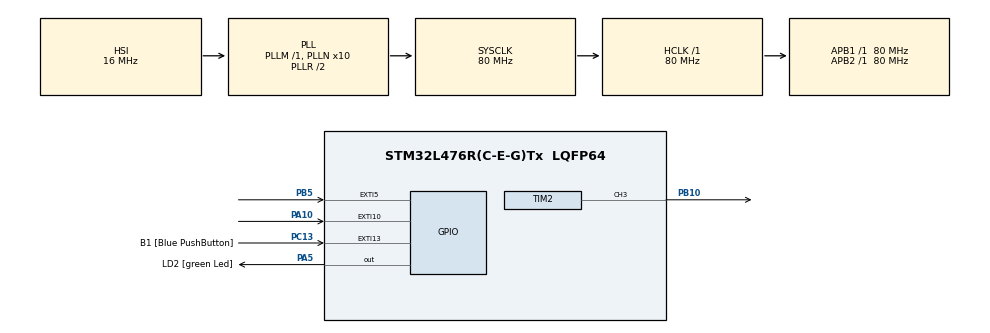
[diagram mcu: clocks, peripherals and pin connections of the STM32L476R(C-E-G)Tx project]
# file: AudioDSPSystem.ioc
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Mcu.Family=STM32L4
Mcu.Name=STM32L476R(C-E-G)Tx
Mcu.Package=LQFP64
NVIC.EXTI15_10_IRQn=true\:0\:0\:false\:false\:true\:true\:true\:true
NVIC.EXTI9_5_IRQn=true\:0\:0\:false\:false\:true\:true\:true\:true
NVIC.PriorityGroup=NVIC_PRIORITYGROUP_4
PA10.Signal=GPXTI10
PA13\ (JTMS-SWDIO).GPIO_Label=TMS
PA13\ (JTMS-SWDIO).Signal=SYS_JTMS-SWDIO
PA14\ (JTCK-SWCLK).GPIO_Label=TCK
PA14\ (JTCK-SWCLK).Signal=SYS_JTCK-SWCLK
PA2.GPIO_Label=USART_TX
PA2.GPIO_Mode=GPIO_MODE_AF_PP
PA2.GPIO_PuPd=GPIO_NOPULL
PA2.GPIO_Speed=GPIO_SPEED_FREQ_VERY_HIGH
PA2.Signal=USART2_TX
PA3.GPIO_Label=USART_RX
PA3.GPIO_Mode=GPIO_MODE_AF_PP
PA3.GPIO_PuPd=GPIO_NOPULL
PA3.GPIO_Speed=GPIO_SPEED_FREQ_VERY_HIGH
PA3.Signal=USART2_RX
PA5.GPIO_Label=LD2 [green Led]
PA5.GPIO_ModeDefaultOutputPP=GPIO_MODE_OUTPUT_PP
PA5.GPIO_PuPd=GPIO_NOPULL
PA5.GPIO_Speed=GPIO_SPEED_FREQ_LOW
PA5.Signal=GPIO_Output
PB10.Signal=S_TIM2_CH3
PB3\ (JTDO-TRACESWO).GPIO_Label=SWO
PB3\ (JTDO-TRACESWO).Signal=SYS_JTDO-SWO
PB5.Signal=GPXTI5
PC13.GPIO_Label=B1 [Blue PushButton]
PC13.GPIO_ModeDefaultEXTI=GPIO_MODE_IT_FALLING
PC13.GPIO_PuPd=GPIO_NOPULL
PC13.Signal=GPXTI13
PC14-OSC32_IN\ (PC14).Signal=RCC_OSC32_IN
PC15-OSC32_OUT\ (PC15).Signal=RCC_OSC32_OUT
PH0-OSC_IN\ (PH0).Signal=RCC_OSC_IN
PH1-OSC_OUT\ (PH1).Signal=RCC_OSC_OUT
ProjectManager.HeapSize=0x200
ProjectManager.StackSize=0x400
ProjectManager.TargetToolchain=STM32CubeIDE
RCC.ADCFreq_Value=64000000
RCC.AHBFreq_Value=80000000
RCC.APB1Freq_Value=80000000
RCC.APB1TimFreq_Value=80000000
RCC.APB2Freq_Value=80000000
RCC.APB2TimFreq_Value=80000000
RCC.CortexFreq_Value=80000000
RCC.HCLKFreq_Value=80000000
RCC.HSE_VALUE=8000000
RCC.HSI_VALUE=16000000
RCC.LSE_VALUE=32768
RCC.MSI_VALUE=4000000
RCC.PLLN=10
RCC.PLLSourceVirtual=RCC_PLLSOURCE_HSI
RCC.PREFETCH_ENABLE=1
RCC.SYSCLKFreq_VALUE=80000000
RCC.SYSCLKSource=RCC_SYSCLKSOURCE_PLLCLK
RCC.USBFreq_Value=64000000
RCC.VCOOutputFreq_Value=160000000
SH.S_TIM2_CH3.0=TIM2_CH3,PWM Generation3 CH3
TIM2.Channel-PWM\ Generation3\ CH3=TIM_CHANNEL_3
TIM2.Prescaler=4
board=NUCLEO-L476RG

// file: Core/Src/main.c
/* USER CODE BEGIN Header */
/**
  ******************************************************************************
  * @file           : main.c
  * @brief          : Main program body
  ******************************************************************************
  * @attention
  *
  * Copyright (c) 2025 STMicroelectronics.
  * All rights reserved.
  *
  * This software is licensed under terms that can be found in the LICENSE file
  * in the root directory of this software component.
  * If no LICENSE file comes with this software, it is provided AS-IS.
  *
  ******************************************************************************
  */
/* USER CODE END Header */
#include "main.h"
#include <math.h>

TIM_HandleTypeDef htim2;

/* USER CODE BEGIN PV */

static volatile int upCount = 0;
static volatile int downCount = 0;

/* USER CODE END PV */

void SystemClock_Config(void);
static void MX_GPIO_Init(void);
static void MX_TIM2_Init(void);

/* USER CODE BEGIN 0 */

	void HAL_GPIO_EXTI_Callback(uint16_t GPIO_Pin){

		//button debouncing :p
		static uint32_t lastTick = 0;
		uint32_t currentTick = HAL_GetTick();
		//ignore if less than 50ms
		if(currentTick - lastTick < 50){
			return;
		}
		lastTick = HAL_GetTick();

		//D4
		if (GPIO_Pin == GPIO_PIN_5){
			upCount++;
		}
		//D2
		else if ((GPIO_Pin == GPIO_PIN_10)){
			upCount--;
		}

	}
/* USER CODE END 0 */

int main(void)
{

  /* USER CODE BEGIN 1 */
	static const float frequencies[] = {
			659.26, 493.88, 523.25, 587.33, 523.25, 493.88, 440.00, 220.00, 440.00, 523.25, 659.26, 587.33, 523.25, 493.88, 415.30, 523.25, 587.33, 659.26, 523.25, 440.00, 220.00, 220.00, 587.33, 698.46, 880.00, 783.99, 698.46, 659.26, 523.25, 659.26, 587.33, 523.25, 493.88, 246.94, 261.63, 587.33, 659.26, 523.25, 440.00
	};
	//ms
	static const float durations[] = {
			406.35, 191.56, 185.76, 365.71, 203.17, 191.56, 162.54, 162.54, 168.34, 168.34, 371.52, 203.17, 191.56, 388.93, 145.12, 203.17, 377.32, 388.93, 383.13, 191.56, 609.52, 87.07, 406.35, 185.76, 383.13, 191.56, 191.56, 522.45, 214.78, 377.32, 197.37, 185.76, 214.78, 319.27, 168.34, 342.49, 394.74, 383.13, 853.33
	};
	//calculate # of notes
	int numNotes = sizeof(frequencies) / sizeof(frequencies[0]);

  /* USER CODE END 1 */

  /* MCU Configuration--------------------------------------------------------*/

  /* Reset of all peripherals, Initializes the Flash interface and the Systick. */
  HAL_Init();

  /* Configure the system clock */
  SystemClock_Config();

  /* Initialize all configured peripherals */
  MX_GPIO_Init();
  MX_TIM2_Init();
  /* USER CODE BEGIN 2 */

//  uint32_t * TIM2BASE = (uint32_t *) 0x40000000;

  //volume is the ccr duty cycle. CCR = duty * ARR+1
  //ask user for volume from 0-100
  float duty = 0.0;

  /* USER CODE END 2 */

  /* Infinite loop */
  while (1)
  {

    /* USER CODE BEGIN 3 */
	  for (int i = 0; i < numNotes; i++){

		  //base freq
		  int fifth = upCount - downCount;

		  //calculate for major freq shift
		  float mult = powf(2.0, (1.0/12.0) * fifth);

		  //change note to adjusted frequency
		  float note = frequencies[i] * mult;

		  //Frequency is the ARR period, ARR = tick/freq - 1
		  uint32_t arr = (16000000 / note) - 1;
		  __HAL_TIM_SET_AUTORELOAD(&htim2, arr);

		  //set volume
		  //volume is proportional to sin(pi * DC), max vol at 50% dc
		  float volume = duty/200.0 * (arr + 1);
		  __HAL_TIM_SET_COMPARE(&htim2, TIM_CHANNEL_3, volume);

		  //play
		  __HAL_TIM_SET_COUNTER(&htim2, 0);
		  HAL_TIM_PWM_Start(&htim2, TIM_CHANNEL_3);
		  HAL_Delay(durations[i]);
		  HAL_TIM_PWM_Stop(&htim2, TIM_CHANNEL_3);

	  }

	  ///debug
//	  uint32_t arr = (16000000 / frequencies[0]) - 1;
//	  		  __HAL_TIM_SET_AUTORELOAD(&htim2, arr);          // 1 kHz @ 16 MHz tick
//
//	  __HAL_TIM_SET_COMPARE(&htim2, TIM_CHANNEL_3, 0); // ~50% duty
//	  HAL_TIM_PWM_Start(&htim2, TIM_CHANNEL_3);
  }
  /* USER CODE END 3 */
}

void SystemClock_Config(void)
{
  RCC_OscInitTypeDef RCC_OscInitStruct = {0};
  RCC_ClkInitTypeDef RCC_ClkInitStruct = {0};

  /** Configure the main internal regulator output voltage
  */
  if (HAL_PWREx_ControlVoltageScaling(PWR_REGULATOR_VOLTAGE_SCALE1) != HAL_OK)
  {
    Error_Handler();
  }

  /** Initializes the RCC Oscillators according to the specified parameters
  * in the RCC_OscInitTypeDef structure.
  */
  RCC_OscInitStruct.OscillatorType = RCC_OSCILLATORTYPE_HSI;
  RCC_OscInitStruct.HSIState = RCC_HSI_ON;
  RCC_OscInitStruct.HSICalibrationValue = RCC_HSICALIBRATION_DEFAULT;
  RCC_OscInitStruct.PLL.PLLState = RCC_PLL_ON;
  RCC_OscInitStruct.PLL.PLLSource = RCC_PLLSOURCE_HSI;
  RCC_OscInitStruct.PLL.PLLM = 1;
  RCC_OscInitStruct.PLL.PLLN = 10;
  RCC_OscInitStruct.PLL.PLLP = RCC_PLLP_DIV7;
  RCC_OscInitStruct.PLL.PLLQ = RCC_PLLQ_DIV2;
  RCC_OscInitStruct.PLL.PLLR = RCC_PLLR_DIV2;
  if (HAL_RCC_OscConfig(&RCC_OscInitStruct) != HAL_OK)
  {
    Error_Handler();
  }

  /** Initializes the CPU, AHB and APB buses clocks
  */
  RCC_ClkInitStruct.ClockType = RCC_CLOCKTYPE_HCLK|RCC_CLOCKTYPE_SYSCLK
                              |RCC_CLOCKTYPE_PCLK1|RCC_CLOCKTYPE_PCLK2;
  RCC_ClkInitStruct.SYSCLKSource = RCC_SYSCLKSOURCE_PLLCLK;
  RCC_ClkInitStruct.AHBCLKDivider = RCC_SYSCLK_DIV1;
  RCC_ClkInitStruct.APB1CLKDivider = RCC_HCLK_DIV1;
  RCC_ClkInitStruct.APB2CLKDivider = RCC_HCLK_DIV1;

  if (HAL_RCC_ClockConfig(&RCC_ClkInitStruct, FLASH_LATENCY_4) != HAL_OK)
  {
    Error_Handler();
  }
}

static void MX_TIM2_Init(void)
{

  TIM_MasterConfigTypeDef sMasterConfig = {0};
  TIM_OC_InitTypeDef sConfigOC = {0};

  htim2.Instance = TIM2;
  htim2.Init.Prescaler = 4;
  htim2.Init.CounterMode = TIM_COUNTERMODE_UP;
  htim2.Init.Period = 4294967295;
  htim2.Init.ClockDivision = TIM_CLOCKDIVISION_DIV1;
  htim2.Init.AutoReloadPreload = TIM_AUTORELOAD_PRELOAD_DISABLE;
  if (HAL_TIM_PWM_Init(&htim2) != HAL_OK)
  {
    Error_Handler();
  }
  sMasterConfig.MasterOutputTrigger = TIM_TRGO_RESET;
  sMasterConfig.MasterSlaveMode = TIM_MASTERSLAVEMODE_DISABLE;
  if (HAL_TIMEx_MasterConfigSynchronization(&htim2, &sMasterConfig) != HAL_OK)
  {
    Error_Handler();
  }
  sConfigOC.OCMode = TIM_OCMODE_PWM1;
  sConfigOC.Pulse = 0;
  sConfigOC.OCPolarity = TIM_OCPOLARITY_HIGH;
  sConfigOC.OCFastMode = TIM_OCFAST_DISABLE;
  if (HAL_TIM_PWM_ConfigChannel(&htim2, &sConfigOC, TIM_CHANNEL_3) != HAL_OK)
  {
    Error_Handler();
  }
  HAL_TIM_MspPostInit(&htim2);

}

static void MX_GPIO_Init(void)
{
  GPIO_InitTypeDef GPIO_InitStruct = {0};

  /* GPIO Ports Clock Enable */
  __HAL_RCC_GPIOC_CLK_ENABLE();
  __HAL_RCC_GPIOH_CLK_ENABLE();
  __HAL_RCC_GPIOA_CLK_ENABLE();
  __HAL_RCC_GPIOB_CLK_ENABLE();

  /*Configure GPIO pin Output Level */
  HAL_GPIO_WritePin(LD2_GPIO_Port, LD2_Pin, GPIO_PIN_RESET);

  /*Configure GPIO pin : B1_Pin */
  GPIO_InitStruct.Pin = B1_Pin;
  GPIO_InitStruct.Mode = GPIO_MODE_IT_FALLING;
  GPIO_InitStruct.Pull = GPIO_NOPULL;
  HAL_GPIO_Init(B1_GPIO_Port, &GPIO_InitStruct);

  /*Configure GPIO pins : USART_TX_Pin USART_RX_Pin */
  GPIO_InitStruct.Pin = USART_TX_Pin|USART_RX_Pin;
  GPIO_InitStruct.Mode = GPIO_MODE_AF_PP;
  GPIO_InitStruct.Pull = GPIO_NOPULL;
  GPIO_InitStruct.Speed = GPIO_SPEED_FREQ_VERY_HIGH;
  GPIO_InitStruct.Alternate = GPIO_AF7_USART2;
  HAL_GPIO_Init(GPIOA, &GPIO_InitStruct);

  /*Configure GPIO pin : LD2_Pin */
  GPIO_InitStruct.Pin = LD2_Pin;
  GPIO_InitStruct.Mode = GPIO_MODE_OUTPUT_PP;
  GPIO_InitStruct.Pull = GPIO_NOPULL;
  GPIO_InitStruct.Speed = GPIO_SPEED_FREQ_LOW;
  HAL_GPIO_Init(LD2_GPIO_Port, &GPIO_InitStruct);

  /*Configure GPIO pin : PA10 */
  GPIO_InitStruct.Pin = GPIO_PIN_10;
  GPIO_InitStruct.Mode = GPIO_MODE_IT_RISING;
  GPIO_InitStruct.Pull = GPIO_NOPULL;
  HAL_GPIO_Init(GPIOA, &GPIO_InitStruct);

  /*Configure GPIO pin : PB5 */
  GPIO_InitStruct.Pin = GPIO_PIN_5;
  GPIO_InitStruct.Mode = GPIO_MODE_IT_RISING;
  GPIO_InitStruct.Pull = GPIO_NOPULL;
  HAL_GPIO_Init(GPIOB, &GPIO_InitStruct);

  /* EXTI interrupt init*/
  HAL_NVIC_SetPriority(EXTI9_5_IRQn, 0, 0);
  HAL_NVIC_EnableIRQ(EXTI9_5_IRQn);

  HAL_NVIC_SetPriority(EXTI15_10_IRQn, 0, 0);
  HAL_NVIC_EnableIRQ(EXTI15_10_IRQn);

}

void Error_Handler(void)
{
  __disable_irq();
  while (1)
  {
  }
}
